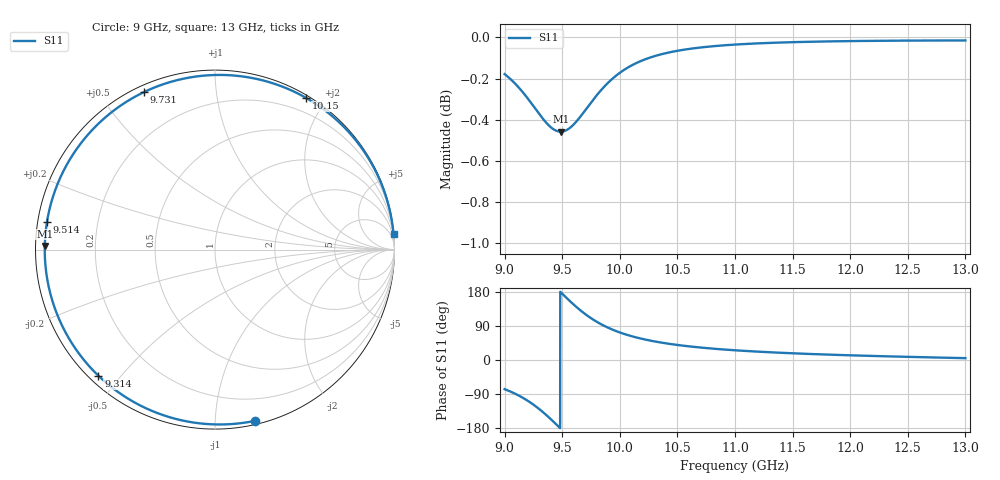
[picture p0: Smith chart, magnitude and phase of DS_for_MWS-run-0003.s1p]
! TOUCHSTONE file generated by CST DESIGN STUDIO
! Date and time: Tue Feb  4 13:48:44 2025
! Project name: C:\Work\MatlabApps\UnitCellOptimizationMatlab\CST\unitcell.cst
! Tree item: Tasks\Sweep1\SPara1\S-Parameters
! Header version: 2024
! Port assignment regex: !\s*Touchstone port\s*([0-9]+)\s*=\s*(CST MWS port|CST DES external port|CST DES block port)\s*(.+)\s* \(\"(.*)\"\)(\s*mode\s*([0-9]+))?.*
! Touchstone port assignment:
! Touchstone port 1 = CST DES external port 1 ("")
# GHz S MA R 50
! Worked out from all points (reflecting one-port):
!   4001 points, 9 GHz to 13 GHz, reference 50 ohm
!   lowest |S11| = -0.5 dB at 9.487 GHz (marker M1), VSWR 37.94, Z = 1.32 + j0.546 ohm
!   phase of S11 starts at -77 deg and turns -278 deg over the sweep
!   S11 on the Smith chart (normalised r, x): 9 GHz: 0.03, -1.26; 9.314 GHz: 0.03, -0.44; 9.514 GHz: 0.03, +0.08; 9.731 GHz: 0.03, +0.65; 10.15 GHz: 0.03, +1.77; 13 GHz: 0, +23
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9  0.9797 -76.9
9.08  0.9752 -87.3
9.179  0.9682 -103.5
9.249  0.9624 -117.5
9.314  0.957 -132.7
9.36  0.9535 -144.7
9.408  0.9506 -158.1
9.448  0.9491 -169.7
9.487  0.9486 178.7
9.5  0.9487 174.9
9.514  0.9489 170.7
9.567  0.9506 155.4
9.627  0.9543 138.9
9.678  0.9583 126.2
9.731  0.9626 114.3
9.785  0.967 103.6
9.845  0.9715 93.2
9.921  0.9763 82.1
10  0.9804 72.7
10.149  0.9859 59.1
10.308  0.9897 48.7
10.5  0.9925 39.7
10.722  0.9945 32.3
11  0.996 25.6
11.5  0.9974 17.7
12  0.998 12.4
12.5  0.9982 8.3
13  0.9983 4.9
